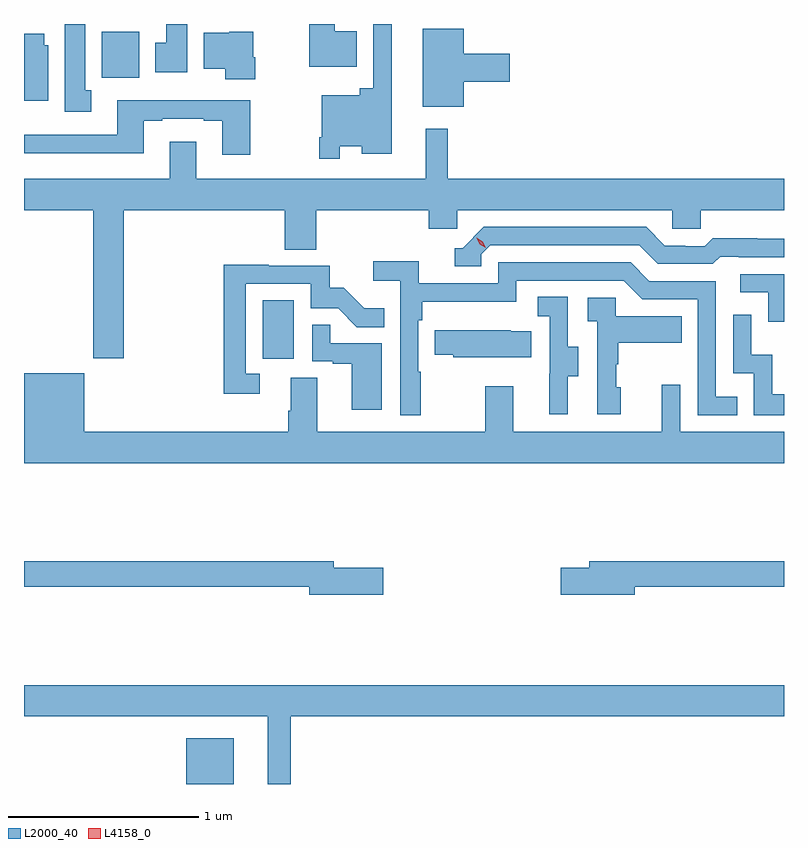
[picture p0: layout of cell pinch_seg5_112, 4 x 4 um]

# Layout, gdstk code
import gdstk
lib = gdstk.Library(unit=1e-6, precision=1e-09)
def R(c, l, rs):  # rectangles x0, y0, x1, y1
    for r in rs: c.add(gdstk.rectangle(r[:2], r[2:], *l))
def P(c, l, *ps):  # polygons
    for p in ps: c.add(gdstk.Polygon(p, *l))
L2000_40 = (2000, 40)
L4158_0 = (4158, 0)

pinch_seg5_112 = lib.new_cell('pinch_seg5_112')
R(pinch_seg5_112, L2000_40, [(1045.592,873.719,1045.843,873.961), (1045.994,875.958,1046.158,876.265), (1045.148,877.436,1045.345,877.678)])
P(pinch_seg5_112, L2000_40, [(1045.093,877.37),(1045.06,877.37),(1045.06,877.719),(1044.953,877.719),(1044.953,877.257),(1045.093,877.257)],
  [(1046.4,877.076),(1046.516,877.076),(1046.516,877.037),(1046.674,877.037),(1046.674,877.719),(1046.577,877.719),(1046.577,877.381),(1046.504,877.381),(1046.504,877.345),(1046.304,877.345),(1046.304,877.123),(1046.292,877.123),(1046.292,877.011),(1046.4,877.011)],
  [(1045.597,877.719),(1045.487,877.719),(1045.487,877.62),(1045.43,877.62),(1045.43,877.464),(1045.597,877.464)],
  [(1046.488,877.681),(1046.374,877.681),(1046.374,877.719),(1046.24,877.719),(1046.24,877.493),(1046.488,877.493)],
  [(1047.052,877.415),(1047.295,877.415),(1047.295,877.562),(1047.052,877.562),(1047.052,877.693),(1046.837,877.693),(1046.837,877.283),(1047.052,877.283)],
  [(1045.954,877.545),(1045.944,877.545),(1045.944,877.678),(1045.818,877.678),(1045.818,877.672),(1045.685,877.672),(1045.685,877.484),(1045.796,877.484),(1045.796,877.427),(1045.954,877.427)],
  [(1044.865,877.608),(1044.844,877.608),(1044.844,877.669),(1044.738,877.669),(1044.738,877.316),(1044.865,877.316)],
  [(1045.929,877.318),(1045.229,877.318),(1045.229,877.137),(1044.738,877.137),(1044.738,877.04),(1045.369,877.04),(1045.369,877.209),(1045.465,877.209),(1045.465,877.221),(1045.685,877.221),(1045.685,877.209),(1045.781,877.209),(1045.781,877.032),(1045.929,877.032)],
  [(1045.262,876.74),(1046.111,876.74),(1046.111,876.532),(1046.276,876.532),(1046.276,876.74),(1046.867,876.74),(1046.867,876.642),(1047.018,876.642),(1047.018,876.74),(1048.149,876.74),(1048.149,876.642),(1048.299,876.642),(1048.299,876.74),(1048.738,876.74),(1048.738,876.904),(1046.969,876.904),(1046.969,877.168),(1046.852,877.168),(1046.852,876.904),(1045.645,876.904),(1045.645,877.099),(1045.505,877.099),(1045.505,876.904),(1044.738,876.904),(1044.738,876.74),(1045.102,876.74),(1045.102,875.961),(1045.262,875.961)],
  [(1047.144,876.507),(1047.192,876.555),(1047.975,876.555),(1048.074,876.456),(1048.363,876.456),(1048.402,876.495),(1048.501,876.495),(1048.501,876.492),(1048.738,876.492),(1048.738,876.589),(1048.596,876.589),(1048.596,876.592),(1048.363,876.592),(1048.321,876.549),(1048.218,876.549),(1048.218,876.552),(1048.111,876.552),(1048.012,876.651),(1047.159,876.651),(1047.048,876.54),(1047.005,876.54),(1047.005,876.444),(1047.144,876.444)],
  [(1046.827,875.888),(1046.814,875.888),(1046.814,876.161),(1046.834,876.161),(1046.834,876.257),(1047.33,876.257),(1047.33,876.369),(1047.894,876.369),(1047.993,876.27),(1048.284,876.27),(1048.284,875.661),(1048.493,875.661),(1048.493,875.757),(1048.38,875.757),(1048.38,876.366),(1048.03,876.366),(1047.931,876.465),(1047.234,876.465),(1047.234,876.354),(1046.816,876.354),(1046.816,876.47),(1046.577,876.47),(1046.577,876.368),(1046.718,876.368),(1046.718,875.661),(1046.827,875.661)],
  [(1045.978,875.877),(1045.905,875.877),(1045.905,876.351),(1046.247,876.351),(1046.247,876.222),(1046.391,876.222),(1046.489,876.124),(1046.633,876.124),(1046.633,876.223),(1046.529,876.223),(1046.422,876.33),(1046.346,876.33),(1046.346,876.447),(1046.027,876.447),(1046.027,876.452),(1045.789,876.452),(1045.789,875.772),(1045.978,875.772)],
  [(1048.738,876.402),(1048.509,876.402),(1048.509,876.306),(1048.656,876.306),(1048.656,876.153),(1048.738,876.153)],
  [(1047.601,875.866),(1047.655,875.866),(1047.655,876.021),(1047.6,876.021),(1047.6,876.284),(1047.441,876.284),(1047.441,876.181),(1047.504,876.181),(1047.504,875.877),(1047.503,875.877),(1047.503,875.664),(1047.601,875.664)],
  [(1047.88,875.808),(1047.855,875.808),(1047.855,875.927),(1047.865,875.927),(1047.865,876.041),(1048.199,876.041),(1048.199,876.181),(1047.852,876.181),(1047.852,876.279),(1047.705,876.279),(1047.705,876.155),(1047.756,876.155),(1047.756,875.664),(1047.88,875.664)],
  [(1048.738,875.77),(1048.676,875.77),(1048.676,875.978),(1048.566,875.978),(1048.566,876.19),(1048.47,876.19),(1048.47,875.88),(1048.578,875.88),(1048.578,875.661),(1048.738,875.661)],
  [(1046.62,876.039),(1046.351,876.039),(1046.351,876.137),(1046.256,876.137),(1046.256,875.943),(1046.363,875.943),(1046.363,875.931),(1046.462,875.931),(1046.462,875.688),(1046.62,875.688)],
  [(1047.407,876.103),(1047.299,876.103),(1047.299,876.106),(1046.899,876.106),(1046.899,875.977),(1046.997,875.977),(1046.997,875.966),(1047.407,875.966)],
  [(1048.738,875.572),(1048.191,875.572),(1048.191,875.821),(1048.094,875.821),(1048.094,875.572),(1047.313,875.572),(1047.313,875.812),(1047.166,875.812),(1047.166,875.572),(1046.281,875.572),(1046.281,875.858),(1046.141,875.858),(1046.141,875.684),(1046.129,875.684),(1046.129,875.572),(1045.054,875.572),(1045.054,875.881),(1044.738,875.881),(1044.738,875.408),(1048.738,875.408)],
  [(1047.952,874.756),(1048.738,874.756),(1048.738,874.892),(1047.713,874.892),(1047.713,874.856),(1047.564,874.856),(1047.564,874.714),(1047.952,874.714)],
  [(1046.629,874.856),(1046.368,874.856),(1046.368,874.892),(1044.738,874.892),(1044.738,874.756),(1046.24,874.756),(1046.24,874.714),(1046.629,874.714)],
  [(1046.143,874.076),(1048.738,874.076),(1048.738,874.24),(1044.738,874.24),(1044.738,874.076),(1046.021,874.076),(1046.021,873.719),(1046.143,873.719)])
P(pinch_seg5_112, L4158_0, [(1047.168,876.541),(1047.137,876.561),(1047.122,876.594),(1047.122,876.594),(1047.122,876.594),(1047.152,876.574),(1047.168,876.541),(1047.168,876.541)])

lib.write_gds('pinch_seg5_112.gds')
